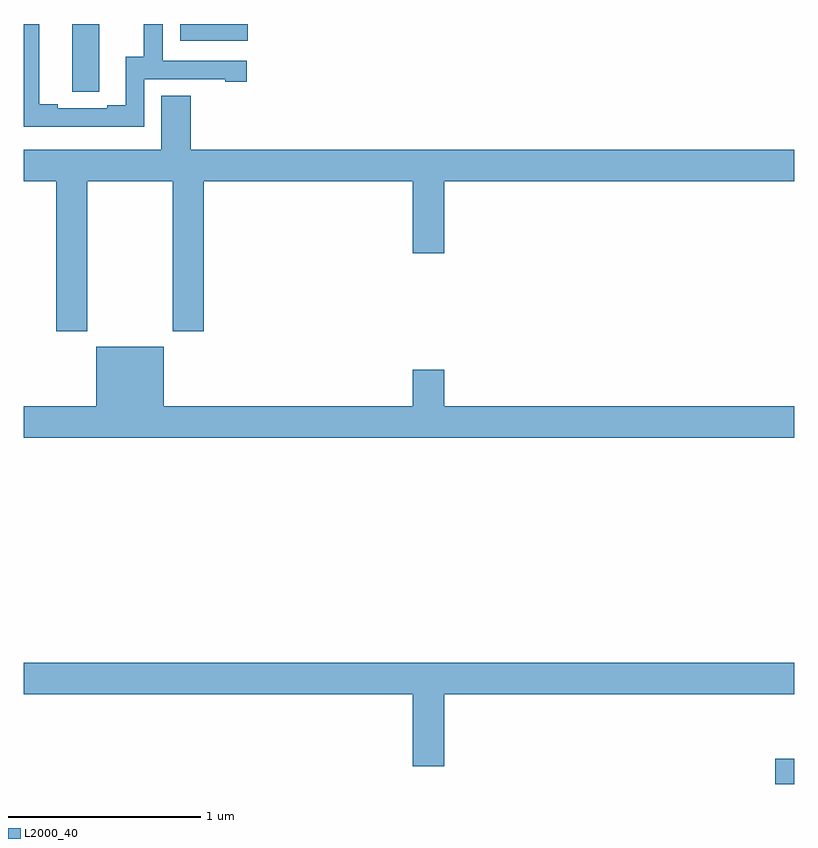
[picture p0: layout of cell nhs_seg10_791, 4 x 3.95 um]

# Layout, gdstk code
import gdstk
lib = gdstk.Library(unit=1e-6, precision=1e-09)
def R(c, l, rs):  # rectangles x0, y0, x1, y1
    for r in rs: c.add(gdstk.rectangle(r[:2], r[2:], *l))
def P(c, l, *ps):  # polygons
    for p in ps: c.add(gdstk.Polygon(p, *l))
L2000_40 = (2000, 40)

nhs_seg10_791 = lib.new_cell('nhs_seg10_791')
R(nhs_seg10_791, L2000_40, [(154.902,1262.555,155,1262.685), (151.812,1266.413,152.164,1266.5)])
P(nhs_seg10_791, L2000_40, [(151.626,1266.213),(152.045,1266.213),(152.045,1266.201),(152.158,1266.201),(152.158,1266.309),(151.722,1266.309),(151.722,1266.5),(151.624,1266.5),(151.624,1266.329),(151.529,1266.329),(151.529,1266.078),(151.433,1266.078),(151.433,1266.063),(151.177,1266.063),(151.177,1266.083),(151.081,1266.083),(151.081,1266.5),(151,1266.5),(151,1265.967),(151.626,1265.967)],
  [(151.392,1266.256),(151.393,1266.256),(151.393,1266.5),(151.253,1266.5),(151.253,1266.148),(151.392,1266.148)],
  [(151.329,1265.684),(151.774,1265.684),(151.774,1264.905),(151.934,1264.905),(151.934,1265.684),(153.02,1265.684),(153.02,1265.31),(153.184,1265.31),(153.184,1265.684),(155,1265.684),(155,1265.848),(151.868,1265.848),(151.868,1266.128),(151.715,1266.128),(151.715,1265.848),(151,1265.848),(151,1265.684),(151.169,1265.684),(151.169,1264.905),(151.329,1264.905)],
  [(155,1264.516),(153.184,1264.516),(153.184,1264.705),(153.02,1264.705),(153.02,1264.516),(151.726,1264.516),(151.726,1264.825),(151.376,1264.825),(151.376,1264.516),(151,1264.516),(151,1264.352),(155,1264.352)],
  [(151,1263.02),(153.02,1263.02),(153.02,1262.646),(153.184,1262.646),(153.184,1263.02),(155,1263.02),(155,1263.184),(151,1263.184)])

lib.write_gds('nhs_seg10_791.gds')
